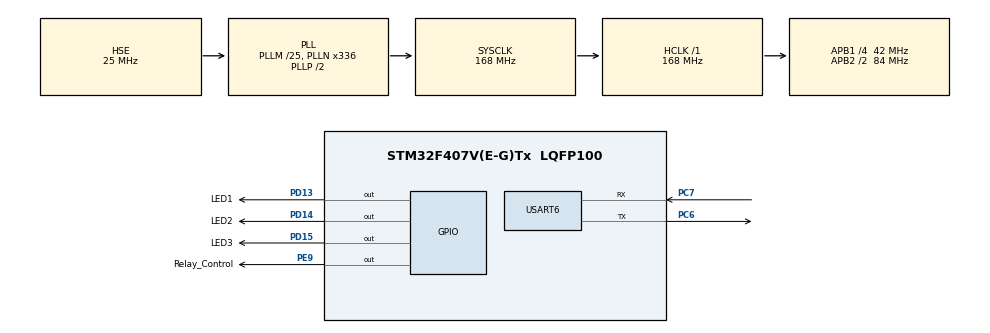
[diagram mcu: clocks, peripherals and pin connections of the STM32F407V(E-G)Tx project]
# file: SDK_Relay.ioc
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Mcu.Family=STM32F4
Mcu.Name=STM32F407V(E-G)Tx
Mcu.Package=LQFP100
NVIC.PriorityGroup=NVIC_PRIORITYGROUP_4
PC6.Mode=Asynchronous
PC6.Signal=USART6_TX
PC7.Mode=Asynchronous
PC7.Signal=USART6_RX
PD13.GPIO_Label=LED1
PD13.Signal=GPIO_Output
PD14.GPIO_Label=LED2
PD14.Signal=GPIO_Output
PD15.GPIO_Label=LED3
PD15.Signal=GPIO_Output
PE9.GPIO_Label=Relay_Control
PE9.Signal=GPIO_Output
PH0-OSC_IN.Mode=HSE-External-Oscillator
PH0-OSC_IN.Signal=RCC_OSC_IN
PH1-OSC_OUT.Mode=HSE-External-Oscillator
PH1-OSC_OUT.Signal=RCC_OSC_OUT
ProjectManager.HeapSize=0x200
ProjectManager.StackSize=0x400
ProjectManager.TargetToolchain=SW4STM32
RCC.48MHZClocksFreq_Value=84000000
RCC.AHBFreq_Value=168000000
RCC.APB1CLKDivider=RCC_HCLK_DIV4
RCC.APB1Freq_Value=42000000
RCC.APB1TimFreq_Value=84000000
RCC.APB2CLKDivider=RCC_HCLK_DIV2
RCC.APB2Freq_Value=84000000
RCC.APB2TimFreq_Value=168000000
RCC.CortexFreq_Value=168000000
RCC.HCLKFreq_Value=168000000
RCC.HSE_VALUE=25000000
RCC.HSI_VALUE=16000000
RCC.LSE_VALUE=32768
RCC.PLLM=25
RCC.PLLN=336
RCC.PLLSourceVirtual=RCC_PLLSOURCE_HSE
RCC.SYSCLKFreq_VALUE=168000000
RCC.SYSCLKSource=RCC_SYSCLKSOURCE_PLLCLK
RCC.VCOOutputFreq_Value=336000000
USART6.VirtualMode=VM_ASYNC
board=custom

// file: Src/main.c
/* USER CODE BEGIN Header */
/**
  ******************************************************************************
  * @file           : main.c
  * @brief          : Main program body
  ******************************************************************************
  * @attention
  *
  * <h2><center>&copy; Copyright (c) 2019 STMicroelectronics.
  * All rights reserved.</center></h2>
  *
  * This software component is licensed by ST under BSD 3-Clause license,
  * the "License"; You may not use this file except in compliance with the
  * License. You may obtain a copy of the License at:
  *                        opensource.org/licenses/BSD-3-Clause
  *
  ******************************************************************************
  */
/* USER CODE END Header */

#include "main.h"
#include "usart.h"
#include "gpio.h"

/* USER CODE BEGIN Includes */
#include "sdk_uart.h"
/* USER CODE END Includes */

void SystemClock_Config(void);
void Relay_ST(void);
void Relay_SW(uint8_t C);

int main(void)
{

  /* MCU Configuration--------------------------------------------------------*/

  /* Reset of all peripherals, Initializes the Flash interface and the Systick. */
  HAL_Init();

  /* Configure the system clock */
  SystemClock_Config();

  /* Initialize all configured peripherals */
  MX_GPIO_Init();
  MX_USART6_UART_Init();
  /* USER CODE BEGIN 2 */
  uint8_t sw = 0;
  char h[] = "How to use:\n 1 - ON\n 0 - OFF\n s - Status\n";
  Relay_ST();
  HAL_UART_Transmit(&huart6, &h, 41, 100);
  /* USER CODE END 2 */

  /* Infinite loop */
  while (1)
  {

    /* USER CODE BEGIN 3 */
	  UART_Receive(&sw, 1);
	  switch (sw) {
	  case '1':
		  Relay_SW(1);
		  break;
	  case '0':
	  	  Relay_SW(0);
	  	  break;
	  case 's':
	  	  Relay_ST();
	  	  break;
	  default:
		  UART_Transmit("Error!\n");
		  sw = 0;
		  break;
	  }
  }
  /* USER CODE END 3 */
}

void SystemClock_Config(void)
{
  RCC_OscInitTypeDef RCC_OscInitStruct = {0};
  RCC_ClkInitTypeDef RCC_ClkInitStruct = {0};

  /** Configure the main internal regulator output voltage
  */
  __HAL_RCC_PWR_CLK_ENABLE();
  __HAL_PWR_VOLTAGESCALING_CONFIG(PWR_REGULATOR_VOLTAGE_SCALE1);
  /** Initializes the CPU, AHB and APB busses clocks
  */
  RCC_OscInitStruct.OscillatorType = RCC_OSCILLATORTYPE_HSE;
  RCC_OscInitStruct.HSEState = RCC_HSE_ON;
  RCC_OscInitStruct.PLL.PLLState = RCC_PLL_ON;
  RCC_OscInitStruct.PLL.PLLSource = RCC_PLLSOURCE_HSE;
  RCC_OscInitStruct.PLL.PLLM = 25;
  RCC_OscInitStruct.PLL.PLLN = 336;
  RCC_OscInitStruct.PLL.PLLP = RCC_PLLP_DIV2;
  RCC_OscInitStruct.PLL.PLLQ = 4;
  if (HAL_RCC_OscConfig(&RCC_OscInitStruct) != HAL_OK)
  {
    Error_Handler();
  }
  /** Initializes the CPU, AHB and APB busses clocks
  */
  RCC_ClkInitStruct.ClockType = RCC_CLOCKTYPE_HCLK|RCC_CLOCKTYPE_SYSCLK
                              |RCC_CLOCKTYPE_PCLK1|RCC_CLOCKTYPE_PCLK2;
  RCC_ClkInitStruct.SYSCLKSource = RCC_SYSCLKSOURCE_PLLCLK;
  RCC_ClkInitStruct.AHBCLKDivider = RCC_SYSCLK_DIV1;
  RCC_ClkInitStruct.APB1CLKDivider = RCC_HCLK_DIV4;
  RCC_ClkInitStruct.APB2CLKDivider = RCC_HCLK_DIV2;

  if (HAL_RCC_ClockConfig(&RCC_ClkInitStruct, FLASH_LATENCY_5) != HAL_OK)
  {
    Error_Handler();
  }
}

/* USER CODE BEGIN 4 */
void Relay_ST(void){
	GPIO_PinState status = HAL_GPIO_ReadPin(Relay_Control_GPIO_Port, Relay_Control_Pin);
	if (status == 1)
		UART_Transmit("Relay ON\n");
	else
		UART_Transmit("Relay OFF\n");

}
void Relay_SW(uint8_t C){
	if (C == 0) {
		HAL_GPIO_WritePin(Relay_Control_GPIO_Port, Relay_Control_Pin, GPIO_PIN_RESET);
		UART_Transmit("Relay OFF\n");
	}
	else {
		  HAL_GPIO_WritePin(Relay_Control_GPIO_Port, Relay_Control_Pin, GPIO_PIN_SET);
		  UART_Transmit("Relay ON\n");
	}
}
/* USER CODE END 4 */

void Error_Handler(void)
{
}

/************************ (C) COPYRIGHT STMicroelectronics *****END OF FILE****/
